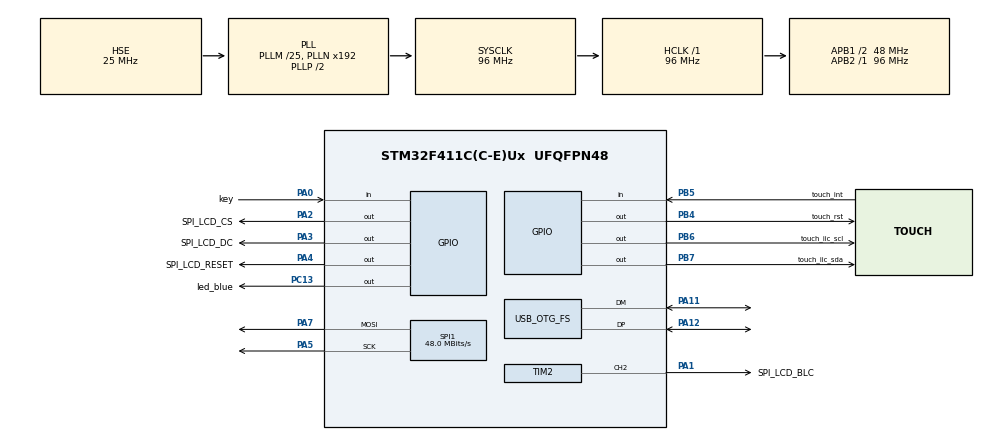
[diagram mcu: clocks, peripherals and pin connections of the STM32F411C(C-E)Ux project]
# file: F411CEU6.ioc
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Dma.Request0=SPI1_TX
Dma.SPI1_TX.0.Direction=DMA_MEMORY_TO_PERIPH
Dma.SPI1_TX.0.FIFOMode=DMA_FIFOMODE_DISABLE
Dma.SPI1_TX.0.Instance=DMA2_Stream2
Dma.SPI1_TX.0.MemDataAlignment=DMA_MDATAALIGN_BYTE
Dma.SPI1_TX.0.MemInc=DMA_MINC_ENABLE
Dma.SPI1_TX.0.Mode=DMA_NORMAL
Dma.SPI1_TX.0.PeriphDataAlignment=DMA_PDATAALIGN_BYTE
Dma.SPI1_TX.0.PeriphInc=DMA_PINC_DISABLE
Dma.SPI1_TX.0.Priority=DMA_PRIORITY_LOW
Mcu.Family=STM32F4
Mcu.Name=STM32F411C(C-E)Ux
Mcu.Package=UFQFPN48
NVIC.DMA2_Stream2_IRQn=true\:0\:0\:false\:false\:true\:false\:true\:true
NVIC.OTG_FS_IRQn=true\:0\:0\:false\:false\:true\:false\:true\:true
NVIC.PriorityGroup=NVIC_PRIORITYGROUP_4
NVIC.SPI1_IRQn=true\:1\:0\:true\:false\:true\:true\:true\:true
PA0-WKUP.GPIO_Label=key
PA0-WKUP.GPIO_PuPd=GPIO_PULLUP
PA0-WKUP.Signal=GPIO_Input
PA1.GPIO_Label=SPI_LCD_BLC
PA1.GPIO_PuPd=GPIO_PULLUP
PA1.GPIO_Speed=GPIO_SPEED_FREQ_VERY_HIGH
PA1.Signal=S_TIM2_CH2
PA11.Mode=Device_Only
PA11.Signal=USB_OTG_FS_DM
PA12.Mode=Device_Only
PA12.Signal=USB_OTG_FS_DP
PA13.Mode=Serial_Wire
PA13.Signal=SYS_JTMS-SWDIO
PA14.Mode=Serial_Wire
PA14.Signal=SYS_JTCK-SWCLK
PA2.GPIO_Label=SPI_LCD_CS
PA2.GPIO_PuPd=GPIO_PULLUP
PA2.GPIO_Speed=GPIO_SPEED_FREQ_VERY_HIGH
PA2.PinState=GPIO_PIN_SET
PA2.Signal=GPIO_Output
PA3.GPIO_Label=SPI_LCD_DC
PA3.GPIO_PuPd=GPIO_PULLUP
PA3.GPIO_Speed=GPIO_SPEED_FREQ_VERY_HIGH
PA3.PinState=GPIO_PIN_SET
PA3.Signal=GPIO_Output
PA4.GPIO_Label=SPI_LCD_RESET
PA4.GPIO_PuPd=GPIO_PULLUP
PA4.GPIO_Speed=GPIO_SPEED_FREQ_VERY_HIGH
PA4.PinState=GPIO_PIN_SET
PA4.Signal=GPIO_Output
PA5.Mode=TX_Only_Simplex_Unidirect_Master
PA5.Signal=SPI1_SCK
PA7.Mode=TX_Only_Simplex_Unidirect_Master
PA7.Signal=SPI1_MOSI
PB4.GPIO_Label=touch_rst
PB4.GPIO_PuPd=GPIO_PULLUP
PB4.GPIO_Speed=GPIO_SPEED_FREQ_VERY_HIGH
PB4.PinState=GPIO_PIN_SET
PB4.Signal=GPIO_Output
PB5.GPIO_Label=touch_int
PB5.Signal=GPIO_Input
PB6.GPIO_Label=touch_iic_scl
PB6.GPIO_PuPd=GPIO_PULLUP
PB6.GPIO_Speed=GPIO_SPEED_FREQ_VERY_HIGH
PB6.PinState=GPIO_PIN_SET
PB6.Signal=GPIO_Output
PB7.GPIO_Label=touch_iic_sda
PB7.GPIO_PuPd=GPIO_PULLUP
PB7.GPIO_Speed=GPIO_SPEED_FREQ_VERY_HIGH
PB7.PinState=GPIO_PIN_SET
PB7.Signal=GPIO_Output
PC13-ANTI_TAMP.GPIO_Label=led_blue
PC13-ANTI_TAMP.GPIO_PuPd=GPIO_PULLUP
PC13-ANTI_TAMP.PinState=GPIO_PIN_SET
PC13-ANTI_TAMP.Signal=GPIO_Output
PH0\ -\ OSC_IN.Mode=HSE-External-Oscillator
PH0\ -\ OSC_IN.Signal=RCC_OSC_IN
PH1\ -\ OSC_OUT.Mode=HSE-External-Oscillator
PH1\ -\ OSC_OUT.Signal=RCC_OSC_OUT
ProjectManager.HeapSize=0x200
ProjectManager.StackSize=0x400
ProjectManager.TargetToolchain=MDK-ARM V5
RCC.48MHZClocksFreq_Value=48000000
RCC.AHBFreq_Value=96000000
RCC.APB1CLKDivider=RCC_HCLK_DIV2
RCC.APB1Freq_Value=48000000
RCC.APB1TimFreq_Value=96000000
RCC.APB2Freq_Value=96000000
RCC.APB2TimFreq_Value=96000000
RCC.CortexFreq_Value=96000000
RCC.HCLKFreq_Value=96000000
RCC.HSE_VALUE=25000000
RCC.HSI_VALUE=16000000
RCC.LSE_VALUE=32768
RCC.PLLM=25
RCC.SYSCLKFreq_VALUE=96000000
RCC.SYSCLKSource=RCC_SYSCLKSOURCE_PLLCLK
RCC.VCOOutputFreq_Value=192000000
SH.S_TIM2_CH2.0=TIM2_CH2,PWM Generation2 CH2
SPI1.BaudRatePrescaler=SPI_BAUDRATEPRESCALER_2
SPI1.CalculateBaudRate=48.0 MBits/s
SPI1.Direction=SPI_DIRECTION_2LINES
SPI1.FirstBit=SPI_FIRSTBIT_MSB
SPI1.Mode=SPI_MODE_MASTER
SPI1.VirtualType=VM_MASTER
TIM2.AutoReloadPreload=TIM_AUTORELOAD_PRELOAD_ENABLE
TIM2.Channel-PWM\ Generation2\ CH2=TIM_CHANNEL_2
TIM2.Period=100-1
TIM2.Prescaler=96-1
USB_DEVICE.CLASS_NAME_FS=CDC
USB_DEVICE.VirtualMode=Cdc
USB_DEVICE.VirtualModeFS=Cdc_FS
USB_OTG_FS.VirtualMode=Device_Only
VP_TIM2_VS_ClockSourceINT.Mode=Internal
VP_USB_DEVICE_VS_USB_DEVICE_CDC_FS.Mode=CDC_FS
board=custom

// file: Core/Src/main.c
/* USER CODE BEGIN Header */
/**
  ******************************************************************************
  * @file           : main.c
  * @brief          : Main program body
  ******************************************************************************
  * @attention
  *
  * Copyright (c) 2026 STMicroelectronics.
  * All rights reserved.
  *
  * This software is licensed under terms that can be found in the LICENSE file
  * in the root directory of this software component.
  * If no LICENSE file comes with this software, it is provided AS-IS.
  *
  ******************************************************************************
  */
/* USER CODE END Header */
#include "main.h"
#include "dma.h"
#include "spi.h"
#include "tim.h"
#include "usb_device.h"
#include "gpio.h"

/* USER CODE BEGIN Includes */
#include "system.h"
/* USER CODE END Includes */

void SystemClock_Config(void);

/* USER CODE BEGIN 0 */
extern void LCD_DrawLine(uint16_t x1, uint16_t y1, uint16_t x2, uint16_t y2, uint16_t color);
extern KEY_FSM_Structure *key_fsm;
/* USER CODE END 0 */

int main(void)
{

  /* MCU Configuration--------------------------------------------------------*/

  /* Reset of all peripherals, Initializes the Flash interface and the Systick. */
  HAL_Init();

  /* Configure the system clock */
  SystemClock_Config();

  /* Initialize all configured peripherals */
  MX_GPIO_Init();
  MX_DMA_Init();
  MX_USB_DEVICE_Init();
  MX_SPI1_Init();
  MX_TIM2_Init();
  /* USER CODE BEGIN 2 */
	// 段收集自动初始化
	auto_initcalls();

  uint16_t colors[] = {WHITE, BLACK, BLUE, RED, GREEN, YELLOW, CYAN, MAGENTA};
  uint8_t color_count = sizeof(colors) / sizeof(colors[0]);
  /* USER CODE END 2 */

  /* Infinite loop */
  while (1)
  {

    /* USER CODE BEGIN 3 */
		uint32_t systick = HAL_GetTick();

		KEY_FSM_Run(key_fsm, systick);
		LED_FSM_Run(&led_blue_fsm, systick);

		CST816_Scan();
		if(TPR_Structure.TouchSta == TP_PRES_DOWN)
		{
			// x=TPR_Structure.x[0];
			// y=TPR_Structure.y[0];

			static uint8_t i = 0;
			LCD_Clear(colors[i++ % color_count]);

			static uint16_t a = 0;
			if(a++>=10)
			{
				a=0;
				LED_FSM_SetToggleEvent(&led_blue_fsm);
				debug_info("%d-%d\r\n",TPR_Structure.x[0],TPR_Structure.y[0]);
			}
		}
  }
  /* USER CODE END 3 */
}

void SystemClock_Config(void)
{
  RCC_OscInitTypeDef RCC_OscInitStruct = {0};
  RCC_ClkInitTypeDef RCC_ClkInitStruct = {0};

  /** Configure the main internal regulator output voltage
  */
  __HAL_RCC_PWR_CLK_ENABLE();
  __HAL_PWR_VOLTAGESCALING_CONFIG(PWR_REGULATOR_VOLTAGE_SCALE1);

  /** Initializes the RCC Oscillators according to the specified parameters
  * in the RCC_OscInitTypeDef structure.
  */
  RCC_OscInitStruct.OscillatorType = RCC_OSCILLATORTYPE_HSE;
  RCC_OscInitStruct.HSEState = RCC_HSE_ON;
  RCC_OscInitStruct.PLL.PLLState = RCC_PLL_ON;
  RCC_OscInitStruct.PLL.PLLSource = RCC_PLLSOURCE_HSE;
  RCC_OscInitStruct.PLL.PLLM = 25;
  RCC_OscInitStruct.PLL.PLLN = 192;
  RCC_OscInitStruct.PLL.PLLP = RCC_PLLP_DIV2;
  RCC_OscInitStruct.PLL.PLLQ = 4;
  if (HAL_RCC_OscConfig(&RCC_OscInitStruct) != HAL_OK)
  {
    Error_Handler();
  }

  /** Initializes the CPU, AHB and APB buses clocks
  */
  RCC_ClkInitStruct.ClockType = RCC_CLOCKTYPE_HCLK|RCC_CLOCKTYPE_SYSCLK
                              |RCC_CLOCKTYPE_PCLK1|RCC_CLOCKTYPE_PCLK2;
  RCC_ClkInitStruct.SYSCLKSource = RCC_SYSCLKSOURCE_PLLCLK;
  RCC_ClkInitStruct.AHBCLKDivider = RCC_SYSCLK_DIV1;
  RCC_ClkInitStruct.APB1CLKDivider = RCC_HCLK_DIV2;
  RCC_ClkInitStruct.APB2CLKDivider = RCC_HCLK_DIV1;

  if (HAL_RCC_ClockConfig(&RCC_ClkInitStruct, FLASH_LATENCY_3) != HAL_OK)
  {
    Error_Handler();
  }
}

void Error_Handler(void)
{
  __disable_irq();
  while (1)
  {
  }
}
